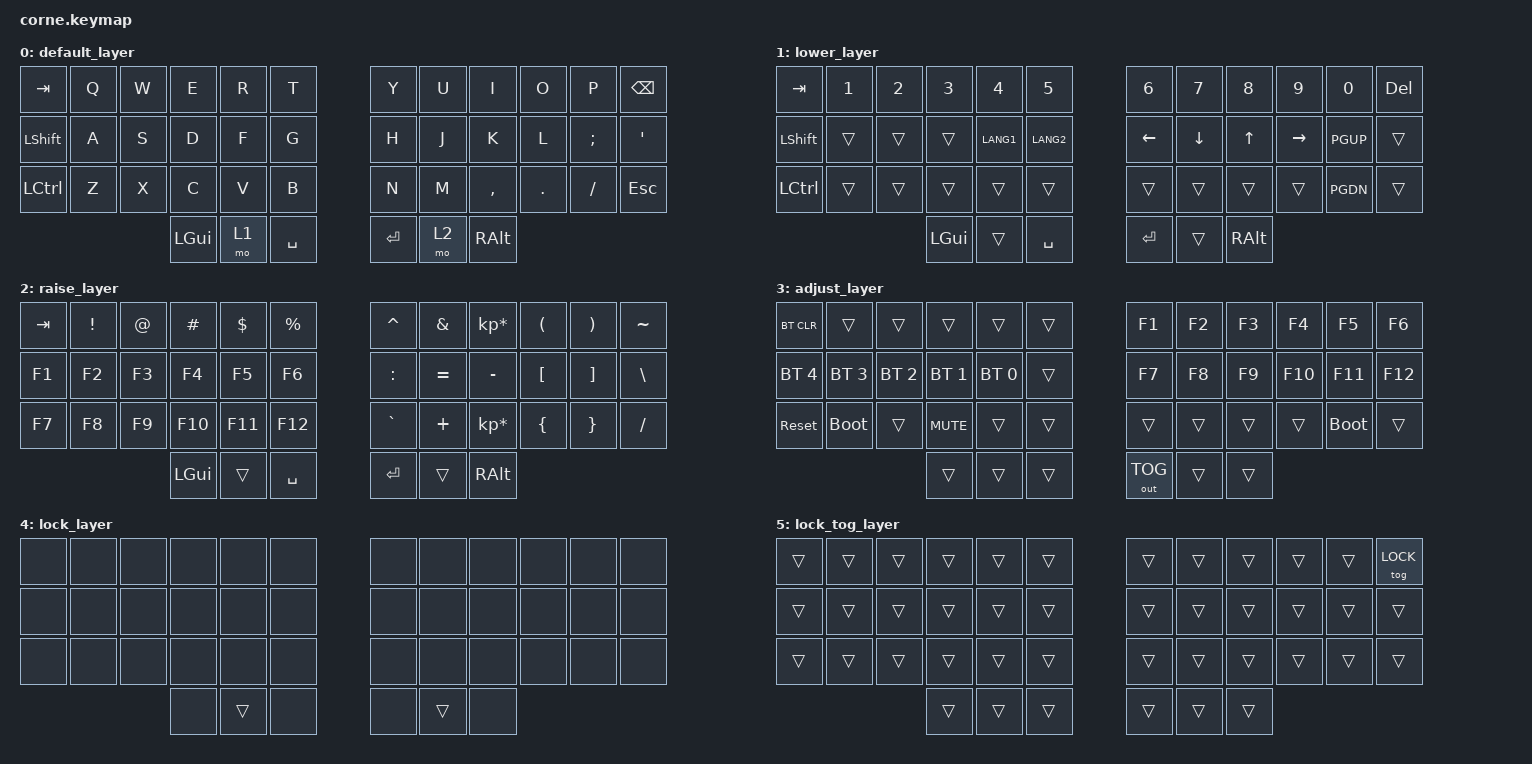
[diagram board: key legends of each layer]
/*
 * Copyright (c) 2020 The ZMK Contributors
 *
 * SPDX-License-Identifier: MIT
 */

#include <behaviors.dtsi>
#include <dt-bindings/zmk/keys.h>
#include <dt-bindings/zmk/bt.h>
#include <dt-bindings/zmk/outputs.h>

#define LOWER 1
#define RAISE 2
#define ADJUST 3
#define LOCK 4
#define LOCK_TOG 5

#define BACK C_AC_BACK
#define FWD C_AC_FORWARD
#define PAUSE PAUSE_BREAK
#define VOL_DN C_VOL_DN
#define VOL_UP C_VOL_UP

#define LC_SPC LC(SPACE)
#define ZM_IN LC(EQUAL)
#define ZM_OUT LC(MINUS)
#define ZM_RST LC(N0)

#define BT0 BT_SEL 0
#define BT1 BT_SEL 1
#define BT2 BT_SEL 2
#define BT3 BT_SEL 3
#define BT4 BT_SEL 4

#define O_TOG OUT_TOG

&kscan0 {
    debounce-period = <10>;
};


/ {
//https://github.com/bcat/zmk-config/blob/master/config/corne.keymap
        conditional_layers {
            compatible = "zmk,conditional-layers";

            tri_layer {
                if-layers = <LOWER RAISE>;
                then-layer = <ADJUST>;
            };

            lock_tog {
                if-layers = <LOWER RAISE>;
                then-layer = <LOCK_TOG>;
            };

        };

        keymap {
                compatible = "zmk,keymap";

                default_layer {
// -----------------------------------------------------------------------------------------
// |  TAB |  Q  |  W  |  E  |  R  |  T  |   |  Y  |  U   |  I  |  O  |  P  | BKSP |
// | CTRL |  A  |  S  |  D  |  F  |  G  |   |  H  |  J   |  K  |  L  |  ;  |  '   |
// | SHFT |  Z  |  X  |  C  |  V  |  B  |   |  N  |  M   |  ,  |  .  |  /  | ESC  |
//                    | GUI | LWR | SPC |   | ENT | RSE  | ALT |
                        bindings = <
   &kp TAB   &kp Q &kp W &kp E &kp R &kp T   &kp Y &kp U  &kp I     &kp O   &kp P    &kp BSPC
   &kp LSHFT &kp A &kp S &kp D &kp F &kp G   &kp H &kp J  &kp K     &kp L   &kp SEMI &kp SQT
   &kp LCTRL &kp Z &kp X &kp C &kp V &kp B   &kp N &kp M  &kp COMMA &kp DOT &kp FSLH &kp ESC
                  &kp LGUI &mo 1 &kp SPACE   &kp RET &mo 2 &kp RALT
                        >;
                };
                lower_layer {
// -----------------------------------------------------------------------------------------
// |  TAB |  1  |  2  |  3  |  4  |  5  |   |  6  |  7  |  8  |  9  |  0  | BKSP |
// | BTCLR| BT1 | BT2 | BT3 | BT4 | BT5 |   | LFT | DWN |  UP | RGT |     |      |
// | SHFT |     |     |     |     |     |   |     |     |     |     |     |      |
//                    | GUI |     | SPC |   | ENT |     | ALT |
//   &bt BT_CLR &bt BT_SEL 0 &bt BT_SEL 1 &bt BT_SEL 2 &bt BT_SEL 3 &bt BT_SEL 4   &kp LEFT &kp DOWN &kp UP &kp RIGHT &trans &trans
                        bindings = <
   &kp TAB    &kp N1       &kp N2       &kp N3       &kp N4       &kp N5         &kp N6   &kp N7   &kp N8 &kp N9    &kp N0   &kp DEL
   &kp LSHFT &trans        &trans       &trans       &kp LANG1    &kp LANG2      &kp LEFT &kp DOWN &kp UP &kp RIGHT &kp PGUP &trans
   &kp LCTRL  &trans       &trans       &trans       &trans       &trans         &trans   &trans   &trans &trans    &kp PGDN &trans
                          	        &kp LGUI     &trans       &kp SPACE      &kp RET  &trans   &kp RALT
                        >;
                };

                raise_layer {
// -----------------------------------------------------------------------------------------
// |  TAB |  !  |  @  |  #  |  $  |  %  |   |  ^  |  &  |  *  |  (  |  )  | BKSP |
// | CTRL |     |     |     |     |     |   |  -  |  =  |  [  |  ]  |  \  |  `   |
// | SHFT |     |     |     |     |     |   |  _  |  +  |  {  |  }  | "|" |  ~   |
//                    | GUI |     | SPC |   | ENT |     | ALT |
                        bindings = <
   &kp  TAB  &kp EXCL &kp AT &kp HASH &kp DLLR &kp PRCNT   &kp CARET &kp AMPS  &kp KP_MULTIPLY &kp LPAR &kp RPAR &kp TILDE
   &kp F1 &kp F2   &kp F3 &kp F4   &kp F5   &kp F6       &kp COLON &kp EQUAL &kp MINUS       &kp LBKT &kp RBKT &kp BSLH
   &kp F7 &kp F8   &kp F9 &kp F10  &kp F11  &kp F12      &kp GRAVE &kp PLUS  &kp KP_MULTIPLY &kp LBRC &kp RBRC &kp SLASH
                    	     &kp LGUI &trans   &kp SPACE   &kp RET   &trans    &kp RALT
                        >;
                };

                adjust_layer {
                    bindings = <
    &bt BT_CLR   &trans       &trans         &trans        &trans       &trans     &kp F1     &kp F2     &kp F3   &kp F4  &kp F5      &kp F6
    &bt BT_SEL 4 &bt BT_SEL 3 &bt BT_SEL 2   &bt BT_SEL 1  &bt BT_SEL 0 &trans     &kp F7     &kp F8     &kp F9   &kp F10 &kp F11     &kp F12
    &sys_reset   &bootloader  &trans         &kp C_MUTE    &trans       &trans     &trans     &trans     &trans   &trans  &bootloader &trans
                                                &trans     &trans       &trans     &out OUT_TOG &trans     &trans
                    >;
                };

        // "Soft lock" layer that shadows all other layers except the LOCK_TOG layer, effectively
        // disabling all keys other than the lock/unlock sequence (Lower+Raise+Backspace) when the
        // LOCK layer is active. This allows the keyboard to be transported without accidentally
        // sending key events to connected hosts.
        //
        // Since we depend on conditional layers for the lock/unlock binding, the LOWER and RAISE
        // positions must be bound to &trans rather than &none so their respective layers can still
        // be activated even when the LOCK layer is enabled.
        //
        // If https://github.com/zmkfirmware/zmk/issues/405 is implemented, the next two layers can
        // be replaced by a native behavior in the future.
                lock_layer {
                    bindings = <
                        &none      &none      &none      &none      &none      &none                            &none      &none      &none      &none      &none      &none
                        &none      &none      &none      &none      &none      &none                            &none      &none      &none      &none      &none      &none
                        &none      &none      &none      &none      &none      &none                            &none      &none      &none      &none      &none      &none
                                                                    &none      &trans     &none      &none      &trans     &none
                    >;
                };

        // The Lower+Raise+Backspace binding toggles the lock layer. Both the ADJUST and LOCK_TOG
        // layers are active iff LOWER and RAISE are pressed, but since the LOCK_TOG layer is the
        // highest-numbered layer, it can always be accessed, even if the LOCK layer is enabled (and
        // hence thus the ADJUST layer bindings are not accessible).
                lock_tog_layer {
                    bindings = <
                        &trans     &trans     &trans     &trans     &trans     &trans                           &trans     &trans     &trans     &trans     &trans     &tog LOCK
                        &trans     &trans     &trans     &trans     &trans     &trans                           &trans     &trans     &trans     &trans     &trans     &trans
                        &trans     &trans     &trans     &trans     &trans     &trans                           &trans     &trans     &trans     &trans     &trans     &trans
                                                                    &trans     &trans     &trans     &trans     &trans     &trans
                    >;
                };
        };
};
